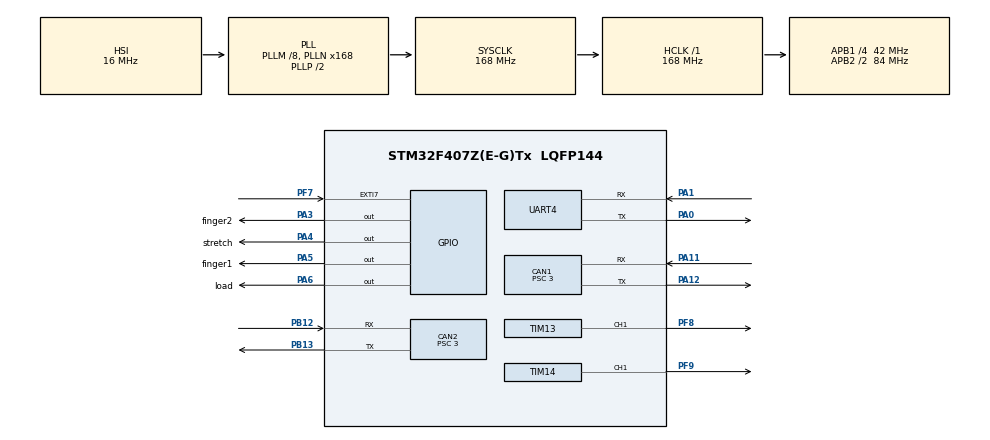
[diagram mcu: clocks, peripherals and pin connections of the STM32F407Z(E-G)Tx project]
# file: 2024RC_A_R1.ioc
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CAN1.ABOM=ENABLE
CAN1.BS1=CAN_BS1_9TQ
CAN1.BS2=CAN_BS2_4TQ
CAN1.CalculateBaudRate=1000000
CAN1.CalculateTimeBit=1000
CAN1.CalculateTimeQuantum=71.42857142857143
CAN1.Prescaler=3
CAN2.ABOM=ENABLE
CAN2.BS1=CAN_BS1_9TQ
CAN2.BS2=CAN_BS2_4TQ
CAN2.CalculateBaudRate=1000000
CAN2.CalculateTimeBit=1000
CAN2.CalculateTimeQuantum=71.42857142857143
CAN2.Prescaler=3
FREERTOS.Tasks01=FSM_switch,24,512,FSM_Task,Default,NULL,Dynamic,NULL,NULL;Chassis,16,512,Chassis_Task,Default,NULL,Dynamic,NULL,NULL;Seed,8,512,Seed_Task,Default,NULL,Dynamic,NULL,NULL;Shoot,8,512,Shoot_Task,Default,NULL,Dynamic,NULL,NULL;Move,16,512,Move_Task,Default,NULL,Dynamic,NULL,NULL
Mcu.Family=STM32F4
Mcu.Name=STM32F407Z(E-G)Tx
Mcu.Package=LQFP144
NVIC.CAN1_RX0_IRQn=true\:5\:0\:false\:false\:true\:true\:true\:true\:true
NVIC.CAN2_RX0_IRQn=true\:5\:0\:false\:false\:true\:true\:true\:true\:true
NVIC.EXTI9_5_IRQn=true\:5\:0\:false\:false\:true\:false\:true\:true\:true
NVIC.PriorityGroup=NVIC_PRIORITYGROUP_4
NVIC.TIM2_IRQn=true\:5\:0\:false\:false\:true\:true\:true\:true\:true
NVIC.TIM3_IRQn=true\:15\:0\:false\:false\:true\:false\:false\:true\:true
NVIC.TIM8_TRG_COM_TIM14_IRQn=true\:5\:0\:false\:false\:true\:true\:true\:true\:true
NVIC.TIM8_UP_TIM13_IRQn=true\:5\:0\:false\:false\:true\:true\:true\:true\:true
NVIC.TimeBase=TIM3_IRQn
NVIC.TimeBaseIP=TIM3
NVIC.UART4_IRQn=true\:5\:0\:false\:false\:true\:true\:true\:true\:true
PA0-WKUP.Mode=Asynchronous
PA0-WKUP.Signal=UART4_TX
PA1.Mode=Asynchronous
PA1.Signal=UART4_RX
PA11.Mode=CAN_Activate
PA11.Signal=CAN1_RX
PA12.Mode=CAN_Activate
PA12.Signal=CAN1_TX
PA13.Mode=Serial_Wire
PA13.Signal=SYS_JTMS-SWDIO
PA14.Mode=Serial_Wire
PA14.Signal=SYS_JTCK-SWCLK
PA3.GPIO_Label=finger2
PA3.Signal=GPIO_Output
PA4.GPIO_Label=stretch
PA4.Signal=GPIO_Output
PA5.GPIO_Label=finger1
PA5.Signal=GPIO_Output
PA6.GPIO_Label=load
PA6.Signal=GPIO_Output
PB12.Mode=CAN_Activate
PB12.Signal=CAN2_RX
PB13.Mode=CAN_Activate
PB13.Signal=CAN2_TX
PC14-OSC32_IN.Mode=LSE-External-Oscillator
PC14-OSC32_IN.Signal=RCC_OSC32_IN
PC15-OSC32_OUT.Mode=LSE-External-Oscillator
PC15-OSC32_OUT.Signal=RCC_OSC32_OUT
PF7.Signal=GPXTI7
PF8.Signal=S_TIM13_CH1
PF9.Signal=S_TIM14_CH1
PH0-OSC_IN.Mode=HSE-External-Oscillator
PH0-OSC_IN.Signal=RCC_OSC_IN
PH1-OSC_OUT.Mode=HSE-External-Oscillator
PH1-OSC_OUT.Signal=RCC_OSC_OUT
ProjectManager.HeapSize=0x200
ProjectManager.StackSize=0x400
ProjectManager.TargetToolchain=MDK-ARM V5.32
RCC.48MHZClocksFreq_Value=84000000
RCC.AHBFreq_Value=168000000
RCC.APB1CLKDivider=RCC_HCLK_DIV4
RCC.APB1Freq_Value=42000000
RCC.APB1TimFreq_Value=84000000
RCC.APB2CLKDivider=RCC_HCLK_DIV2
RCC.APB2Freq_Value=84000000
RCC.APB2TimFreq_Value=168000000
RCC.CortexFreq_Value=168000000
RCC.HCLKFreq_Value=168000000
RCC.HSE_VALUE=8000000
RCC.HSI_VALUE=16000000
RCC.PLLM=8
RCC.PLLN=168
RCC.SYSCLKFreq_VALUE=168000000
RCC.SYSCLKSource=RCC_SYSCLKSOURCE_PLLCLK
RCC.VCOOutputFreq_Value=336000000
SH.S_TIM13_CH1.0=TIM13_CH1,PWM Generation1 CH1
SH.S_TIM14_CH1.0=TIM14_CH1,PWM Generation1 CH1
TIM13.Channel=TIM_CHANNEL_1
TIM13.Period=19999
TIM13.Prescaler=83
TIM14.Channel=TIM_CHANNEL_1
TIM14.OC1Preload_PWM=ENABLE
TIM14.Period=19999
TIM14.Prescaler=83
TIM2.Period=100000
TIM2.Prescaler=83
UART4.VirtualMode=Asynchronous
VP_FREERTOS_VS_CMSIS_V2.Mode=CMSIS_V2
VP_SYS_VS_tim3.Mode=TIM3
VP_TIM13_VS_ClockSourceINT.Mode=Enable_Timer
VP_TIM14_VS_ClockSourceINT.Mode=Enable_Timer
VP_TIM2_VS_ClockSourceINT.Mode=Internal
board=custom

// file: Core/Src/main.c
/* USER CODE BEGIN Header */
/**
  ******************************************************************************
  * @file           : main.c
  * @brief          : Main program body
  ******************************************************************************
  * @attention
  *
  * Copyright (c) 2023 STMicroelectronics.
  * All rights reserved.
  *
  * This software is licensed under terms that can be found in the LICENSE file
  * in the root directory of this software component.
  * If no LICENSE file comes with this software, it is provided AS-IS.
  *
  ******************************************************************************
  */
/* USER CODE END Header */
#include "main.h"
#include "cmsis_os.h"
#include "can.h"
#include "tim.h"
#include "usart.h"
#include "gpio.h"

void SystemClock_Config(void);
void MX_FREERTOS_Init(void);

int main(void)
{

  /* MCU Configuration--------------------------------------------------------*/

  /* Reset of all peripherals, Initializes the Flash interface and the Systick. */
  HAL_Init();

  /* Configure the system clock */
  SystemClock_Config();

  /* Initialize all configured peripherals */
  MX_GPIO_Init();
  MX_CAN1_Init();
  MX_CAN2_Init();
  MX_TIM2_Init();
  MX_TIM13_Init();
  MX_TIM14_Init();
  MX_UART4_Init();
  /* USER CODE BEGIN 2 */
  HAL_TIM_Base_Start_IT(&htim2);//初始化定时器2

  uint8_t USART_Receiver1;
  HAL_UART_Receive_IT(&huart4,&USART_Receiver1,1);//初始化action

  can_filter_init();
  can1_config();
  can2_config();
  /* USER CODE END 2 */

  /* Init scheduler */
  osKernelInitialize();  /* Call init function for freertos objects (in freertos.c) */
  MX_FREERTOS_Init();

  /* Start scheduler */
  osKernelStart();

  /* We should never get here as control is now taken by the scheduler */
  /* Infinite loop */
  while (1)
  {

  }
}

void SystemClock_Config(void)
{
  RCC_OscInitTypeDef RCC_OscInitStruct = {0};
  RCC_ClkInitTypeDef RCC_ClkInitStruct = {0};

  /** Configure the main internal regulator output voltage
  */
  __HAL_RCC_PWR_CLK_ENABLE();
  __HAL_PWR_VOLTAGESCALING_CONFIG(PWR_REGULATOR_VOLTAGE_SCALE1);

  /** Initializes the RCC Oscillators according to the specified parameters
  * in the RCC_OscInitTypeDef structure.
  */
  RCC_OscInitStruct.OscillatorType = RCC_OSCILLATORTYPE_HSI;
  RCC_OscInitStruct.HSIState = RCC_HSI_ON;
  RCC_OscInitStruct.HSICalibrationValue = RCC_HSICALIBRATION_DEFAULT;
  RCC_OscInitStruct.PLL.PLLState = RCC_PLL_ON;
  RCC_OscInitStruct.PLL.PLLSource = RCC_PLLSOURCE_HSI;
  RCC_OscInitStruct.PLL.PLLM = 8;
  RCC_OscInitStruct.PLL.PLLN = 168;
  RCC_OscInitStruct.PLL.PLLP = RCC_PLLP_DIV2;
  RCC_OscInitStruct.PLL.PLLQ = 4;
  if (HAL_RCC_OscConfig(&RCC_OscInitStruct) != HAL_OK)
  {
    Error_Handler();
  }

  /** Initializes the CPU, AHB and APB buses clocks
  */
  RCC_ClkInitStruct.ClockType = RCC_CLOCKTYPE_HCLK|RCC_CLOCKTYPE_SYSCLK
                              |RCC_CLOCKTYPE_PCLK1|RCC_CLOCKTYPE_PCLK2;
  RCC_ClkInitStruct.SYSCLKSource = RCC_SYSCLKSOURCE_PLLCLK;
  RCC_ClkInitStruct.AHBCLKDivider = RCC_SYSCLK_DIV1;
  RCC_ClkInitStruct.APB1CLKDivider = RCC_HCLK_DIV4;
  RCC_ClkInitStruct.APB2CLKDivider = RCC_HCLK_DIV2;

  if (HAL_RCC_ClockConfig(&RCC_ClkInitStruct, FLASH_LATENCY_5) != HAL_OK)
  {
    Error_Handler();
  }
}

void HAL_TIM_PeriodElapsedCallback(TIM_HandleTypeDef *htim)
{
  /* USER CODE BEGIN Callback 0 */
  if (htim->Instance == TIM2)
  {
      LAST_TIME_ISR_CNT = TIME_ISR_CNT;
      TIME_ISR_CNT++;
      Microsecond_Cnt++;
      if (Microsecond_Cnt >= 100)
      {
      Microsecond_Cnt = 0;
      Time_Sys[Second]++;
      if (Time_Sys[Second] >= 60)
      {
          Time_Sys[Second] = 0;
          Time_Sys[Minute]++;
          if (Time_Sys[Minute] >= 60)
          {
          Time_Sys[Minute] = 0;
          Time_Sys[Hour]++;
          }
      }
      }
      Time_Sys[MicroSecond] = Microsecond_Cnt;
  }
  /* USER CODE END Callback 0 */
  if (htim->Instance == TIM3) {
    HAL_IncTick();
  }
}

void Error_Handler(void)
{
  __disable_irq();
  while (1)
  {
  }
}

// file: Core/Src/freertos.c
/* USER CODE BEGIN Header */
/**
  ******************************************************************************
  * File Name          : freertos.c
  * Description        : Code for freertos applications
  ******************************************************************************
  * @attention
  *
  * Copyright (c) 2024 STMicroelectronics.
  * All rights reserved.
  *
  * This software is licensed under terms that can be found in the LICENSE file
  * in the root directory of this software component.
  * If no LICENSE file comes with this software, it is provided AS-IS.
  *
  ******************************************************************************
  */
/* USER CODE END Header */

#include "FreeRTOS.h"
#include "task.h"
#include "main.h"
#include "cmsis_os.h"

/* USER CODE BEGIN Includes */
#include "move.h"
/* USER CODE END Includes */

/* Definitions for FSM_switch */
osThreadId_t FSM_switchHandle;
const osThreadAttr_t FSM_switch_attributes = {
  .name = "FSM_switch",
  .stack_size = 512 * 4,
  .priority = (osPriority_t) osPriorityNormal,
};
/* Definitions for Chassis */
osThreadId_t ChassisHandle;
const osThreadAttr_t Chassis_attributes = {
  .name = "Chassis",
  .stack_size = 512 * 4,
  .priority = (osPriority_t) osPriorityBelowNormal,
};
/* Definitions for Seed */
osThreadId_t SeedHandle;
const osThreadAttr_t Seed_attributes = {
  .name = "Seed",
  .stack_size = 512 * 4,
  .priority = (osPriority_t) osPriorityLow,
};
/* Definitions for Shoot */
osThreadId_t ShootHandle;
const osThreadAttr_t Shoot_attributes = {
  .name = "Shoot",
  .stack_size = 512 * 4,
  .priority = (osPriority_t) osPriorityLow,
};
/* Definitions for Move */
osThreadId_t MoveHandle;
const osThreadAttr_t Move_attributes = {
  .name = "Move",
  .stack_size = 512 * 4,
  .priority = (osPriority_t) osPriorityBelowNormal,
};

void FSM_Task(void *argument);
void Chassis_Task(void *argument);
void Seed_Task(void *argument);
void Shoot_Task(void *argument);
void Move_Task(void *argument);

void MX_FREERTOS_Init(void); /* (MISRA C 2004 rule 8.1) */

void MX_FREERTOS_Init(void) {

  /* Create the thread(s) */
  /* creation of FSM_switch */
  FSM_switchHandle = osThreadNew(FSM_Task, NULL, &FSM_switch_attributes);

  /* creation of Chassis */
  ChassisHandle = osThreadNew(Chassis_Task, NULL, &Chassis_attributes);

  /* creation of Seed */
  SeedHandle = osThreadNew(Seed_Task, NULL, &Seed_attributes);

  /* creation of Shoot */
  ShootHandle = osThreadNew(Shoot_Task, NULL, &Shoot_attributes);

  /* creation of Move */
  MoveHandle = osThreadNew(Move_Task, NULL, &Move_attributes);

}

void FSM_Task(void *argument)
{
  /* USER CODE BEGIN FSM_Task */
  /* Infinite loop */
  for(;;)
  {
    robot_fsm();
    osDelay(1);
  }
  /* USER CODE END FSM_Task */
}

void Chassis_Task(void *argument)
{
  /* USER CODE BEGIN Chassis_Task */
  /* Infinite loop */
  for(;;)
  {
    if (chassis_state == CHASSIS_DISABLE)
    {
      ROBOT_CHASSI.Vx_MAX = 0.0f;
      ROBOT_CHASSI.Vy_MAX = 0.0f;
	    ROBOT_CHASSI.Vw_MAX = 0.0f;
      chassis_stop();
    }
    else if (chassis_state == CHASSIS_STATE_HIGH_SPEED)
    {
      ROBOT_CHASSI.Vx_MAX = 1.6f;
      ROBOT_CHASSI.Vy_MAX = 1.6f;
	    ROBOT_CHASSI.Vw_MAX = 2.0f;
    }
    else if (chassis_state == CHASSIS_STATE_LOW_SPEED)
    {
      ROBOT_CHASSI.Vx_MAX = 1.0f;
      ROBOT_CHASSI.Vy_MAX = 1.0f;
	    ROBOT_CHASSI.Vw_MAX = 1.6f;
    }
    Free_Control();
    Robot_Wheels_RPM_calculate();
    Motor_Control();
    osDelay(1);
  }
  /* USER CODE END Chassis_Task */
}

void Seed_Task(void *argument)
{
  /* USER CODE BEGIN Seed_Task */
  /* Infinite loop */
  for(;;)
  {
    switch (seed_state)
    {
      case SEED_STATE_DISABLE:
        /*收缩状态*/
        // flip_motor(Flip2ground);
        lift_motor(lift2ground);
        cylinder_control(open, 0);
        cylinder_control(finger1_3, 0);
        cylinder_control(finger2_4, 0);
        break;
      case SEED_STATE_INIT:
        /*初始化、24放苗*/
        flip_motor(Flip2ground);
        lift_motor(lift2ground);
        cylinder_control(open, 1);
        cylinder_control(finger1_3, 0);
        cylinder_control(finger2_4, 0);
        break;
      case SEED_STATE_PEEK:
        /* 取苗 */
        cylinder_control(finger1_3, 1);
        cylinder_control(finger2_4, 1);
        vTaskDelay(500);
        lift_motor(lift2top);
        break;
      case SEED_STATE_PUT:
        /* 13放苗 */
        lift_motor(lift2half);
        vTaskDelay(500);
        cylinder_control(finger1_3, 0);
        break;
    }
    osDelay(1);
  }
  /* USER CODE END Seed_Task */
}

void Shoot_Task(void *argument)
{
  /* USER CODE BEGIN Shoot_Task */
  /* Infinite loop */
  for(;;)
  {
    switch (shoot_state)
    {
      case SHOOT_STATE_INIT:
        /*初始化*/
        servos_control(0);
        cylinder_control(push, 0);
        belt_ctrl(0);
        break;
      case SHOOT_STATE_LOAD:
        /*取球*/
        servos_control(90);
        break;
      case SHOOT_STATE_SHOOTING:
        /*发射*/
        belt_ctrl(1000);
        cylinder_control(push, 1);
        servos_control(135);
        break;
    }
    osDelay(1);
  }
  /* USER CODE END Shoot_Task */
}

void Move_Task(void *argument)
{
  /* USER CODE BEGIN Move_Task */
  /* Infinite loop */
  for(;;)
  {
    //这段代码用于调用路径规划
    osDelay(1);
  }
  /* USER CODE END Move_Task */
}
